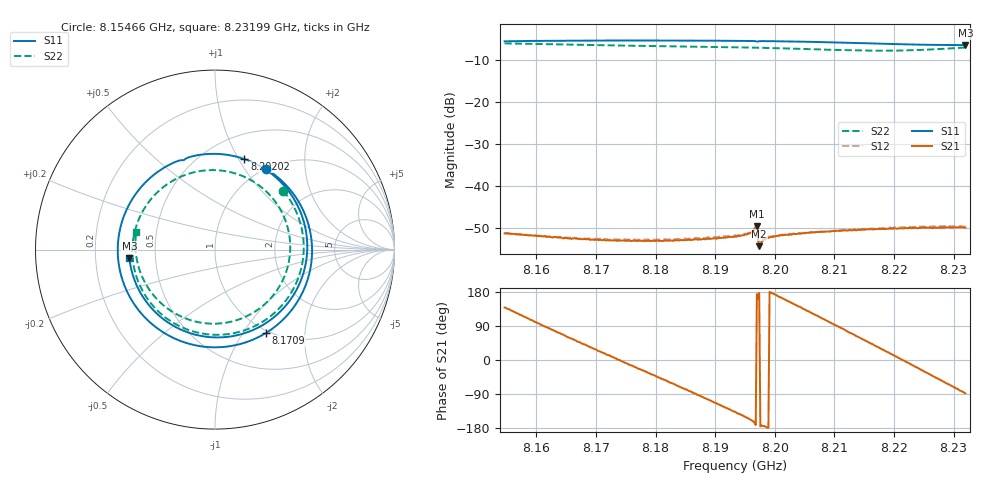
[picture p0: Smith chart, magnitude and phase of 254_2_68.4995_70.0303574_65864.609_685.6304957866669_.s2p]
#  HZ  S  RI  R  50.00
! Rohde & Schwarz Vector Network Analyzer
! Rohde-Schwarz,ZNB20-2Port,1311601062101988,3.16
! Created: UTC 3/20/2024, 4:59:58 PM
! freq[Hz]  re:S11  im:S11  re:S21  im:S21  re:S12  im:S12  re:S22  im:S22
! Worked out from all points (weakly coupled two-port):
!   401 points, 8.15466 GHz to 8.23199 GHz, reference 50 ohm
!   highest |S21| = -49.46 dB at 8.197 GHz (marker M1); lowest = -54.2 dB at 8.19738 GHz (marker M2)
!   lowest |S11| = -6.4 dB at 8.23199 GHz (marker M3), VSWR 2.84, Z = 17.6 - j2.23 ohm
!   |S11| at or under -10 dB: nowhere
!   |S22| runs from -7.7 to -6.0 dB; largest |S21 - S12| = 0.00024
!   S11 on the Smith chart (normalised r, x): 8.15466 GHz: 1.01, +1.26; 8.1709 GHz: 0.97, -1.28; 8.20202 GHz: 0.75, +1.06; 8.23199 GHz: 0.35, -0.04
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8.154656e9  0.2858 0.4485  -0.00206 0.00182  -0.00211 0.00183  0.3799 0.3284
8.161423e9  0.5333 0.0836  6.97e-05 0.00256  5.71e-05 0.00257  0.4892 -0.0598
8.16761e9  0.4447 -0.3126  0.0017 0.00162  0.00176 0.0017  0.3098 -0.3705
8.170897e9  0.284 -0.4643  0.00215 0.000815  0.00222 0.000855  0.1408 -0.4568
8.17573e9  -0.031 -0.5436  0.00219 -0.000531  0.00226 -0.000525  -0.1322 -0.4527
8.180564e9  -0.3372 -0.4265  0.00155 -0.00161  0.00158 -0.00169  -0.355 -0.3021
8.186944e9  -0.5402 -0.046  -6.74e-05 -0.00234  -9.6e-05 -0.00243  -0.4587 0.0292
8.190037e9  -0.5143 0.1674  -0.000946 -0.00223  -0.00105 -0.00228  -0.413 0.1939
8.193324e9  -0.3973 0.3643  -0.00183 -0.00175  -0.00197 -0.00173  -0.3013 0.3371
8.196611e9  -0.2054 0.4941  -0.003 -0.000771  -0.00309 -0.000659  -0.1406 0.4247
8.196997e9  -0.1778 0.4979  -0.00335 0.000328  -0.00338 0.000481  -0.1195 0.4302
8.197384e9  -0.1609 0.508  -0.00194 0.000103  -0.00196 0.000175  -0.0983 0.4349
8.202024e9  0.164 0.5045  -0.00244 0.00104  -0.00243 0.00115  0.1604 0.407
8.206278e9  0.4058 0.3316  -0.00155 0.00238  -0.0015 0.00241  0.3475 0.2503
8.209371e9  0.5004 0.1342  -0.000442 0.00288  -0.000336 0.00291  0.414 0.0797
8.212464e9  0.5041 -0.0856  0.000887 0.00288  0.000927 0.0029  0.4019 -0.1073
8.215558e9  0.4141 -0.2873  0.00205 0.00231  0.00214 0.0023  0.307 -0.2749
8.219231e9  0.2076 -0.4498  0.00298 0.000981  0.0031 0.000909  0.1068 -0.3973
8.222131e9  0.00291 -0.4893  0.00319 -0.000314  0.00324 -0.000446  -0.0843 -0.4061
8.225031e9  -0.2 -0.4412  0.00279 -0.00162  0.00281 -0.00177  -0.2641 -0.3285
8.228705e9  -0.3979 -0.269  0.00159 -0.00283  0.00151 -0.00299  -0.4154 -0.128
8.231992e9  -0.4766 -0.0487  0.000107 -0.00323  -6.57e-05 -0.00333  -0.438 0.0992
